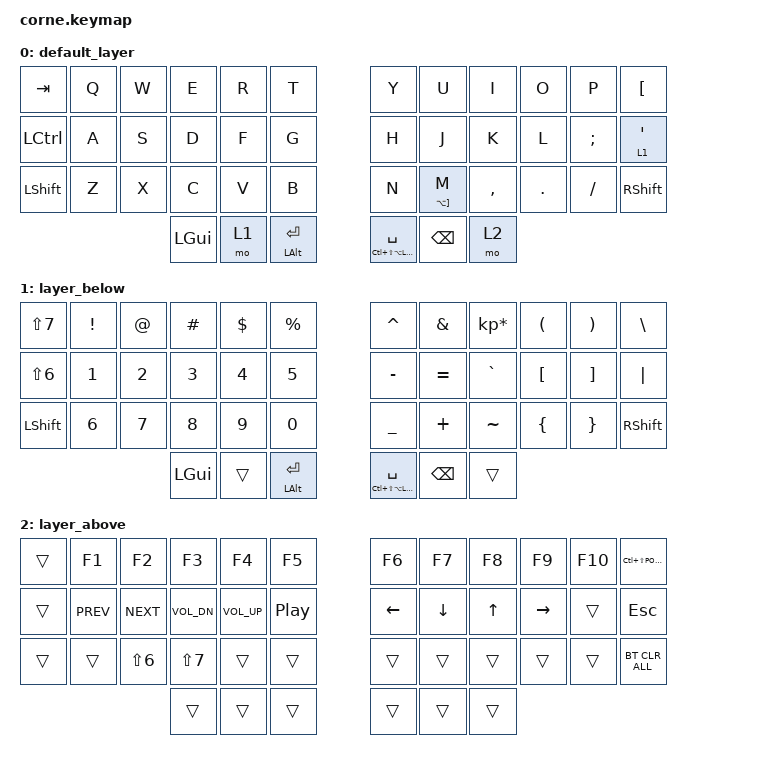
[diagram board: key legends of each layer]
/*
 * Copyright (c) 2020 The ZMK Contributors
 *
 * SPDX-License-Identifier: MIT
 */

#include <behaviors.dtsi>
#include <dt-bindings/zmk/bt.h>
#include <dt-bindings/zmk/keys.h>

/ {
    behaviors {
        tp: tap_preferred {
            compatible = "zmk,behavior-hold-tap";
            label = "TAP_PREFERRED";
            #binding-cells = <2>;
            tapping-term-ms = <150>;
            quick-tap-ms = <0>;
            flavor = "tap-preferred";
            bindings = <&kp>, <&kp>;
        };
    };

    keymap {
        compatible = "zmk,keymap";

        default_layer {
            // -----------------------------------------------------------------------------------------
            // | TAB  |  Q  |  W  |  E  |  R  |    T    |   |  Y  |  U   |  I  |  O  |  P  | ESC |
            // | CTRL |  A  |  S  |  D  |  F  |    G    |   |  H  |  J   |  K  |  L  |  ;  |  LWR/'   |
            // | SHFT |  Z  |  X  |  C  |  V  |    B    |   |  N  |  M   |  ,  |  .  |  /  | SHFT |
            //                    | GUI | LWR | ALT/ENT |   | HYPER/SPC | BKSP  | RSE |

            bindings = <
&kp TAB    &kp Q  &kp W  &kp E     &kp R  &kp T           &kp Y                       &kp U                    &kp I      &kp O    &kp P      &kp LEFT_BRACKET
&kp LCTRL  &kp A  &kp S  &kp D     &kp F  &kp G           &kp H                       &kp J                    &kp K      &kp L    &kp SEMI   &lt 1 SQT
&kp LSHFT  &kp Z  &kp X  &kp C     &kp V  &kp B           &kp N                       &tp LA(RIGHT_BRACKET) M  &kp COMMA  &kp DOT  &kp SLASH  &kp RIGHT_SHIFT
                         &kp LGUI  &mo 1  &tp LALT RET    &tp LC(LS(LA(LGUI))) SPACE  &kp BSPC                 &mo 2
            >;
        };

        layer_below {
            // -----------------------------------------------------------------------------------------
            // |      |  !  |  @  |  #  |  $  |    %     |   |  ^  |  &  |  *  |  (  |  )  |   \   |
            // |      |  1  |  2  |  3  |  4  |    5     |   |  -  |  =  |  `  |  [  |  ]  |  "|"  |
            // | SHFT |  6  |  7  |  8  |  9  |    0     |   |  _  |  +  |  ~  |  {  |  }  | RSHFT |
            //                     | GUI |     | ALT/ENT |   | HYPER/SPACE | BKSP |    |

            bindings = <
&kp LS(N7)        &kp EXCL  &kp AT  &kp HASH  &kp DLLR  &kp PRCNT       &kp CARET                   &kp AMPS   &kp KP_MULTIPLY  &kp LPAR  &kp RPAR  &kp BSLH
&kp LS(NUMBER_6)  &kp N1    &kp N2  &kp N3    &kp N4    &kp N5          &kp MINUS                   &kp EQUAL  &kp GRAVE        &kp LBKT  &kp RBKT  &kp PIPE
&kp LSHFT         &kp N6    &kp N7  &kp N8    &kp N9    &kp N0          &kp UNDER                   &kp PLUS   &kp TILDE        &kp LBRC  &kp RBRC  &kp RSHFT
                                    &kp LGUI  &trans    &tp LALT RET    &tp LC(LS(LA(LGUI))) SPACE  &kp BSPC   &trans
            >;
        };

        layer_above {
            // -----------------------------------------------------------------------------------------
            // |       |  F1  |  F2  |  F3  |  F4  |  F5 |            |  F6  |  F7  |  F8  |  F9  |  F10  |   |
            // |       | Prev | Next | Vol - | Vol + | Play/Pause |   |      | LFT | DWN |  UP | RGT |     |     |
            // | BTCLR | BT1 | BT2 | BT3 | BT4 | BT5 |   |            |     |     |     |     |     |     |
            //                    |     |     |    |                  |     |     |     |

            bindings = <
&trans  &kp F1      &kp F2            &kp F3        &kp F4        &kp F5      &kp F6    &kp F7    &kp F8  &kp F9     &kp F10  &kp LC(LS(K_POWER))
&trans  &kp C_PREV  &kp C_NEXT        &kp C_VOL_DN  &kp C_VOL_UP  &kp C_PP    &kp LEFT  &kp DOWN  &kp UP  &kp RIGHT  &trans   &kp ESCAPE
&trans  &trans      &kp LS(NUMBER_6)  &kp LS(N7)    &trans        &trans      &trans    &trans    &trans  &trans     &trans   &bt BT_CLR_ALL
                                      &trans        &trans        &trans      &trans    &trans    &trans
            >;
        };
    };
};
